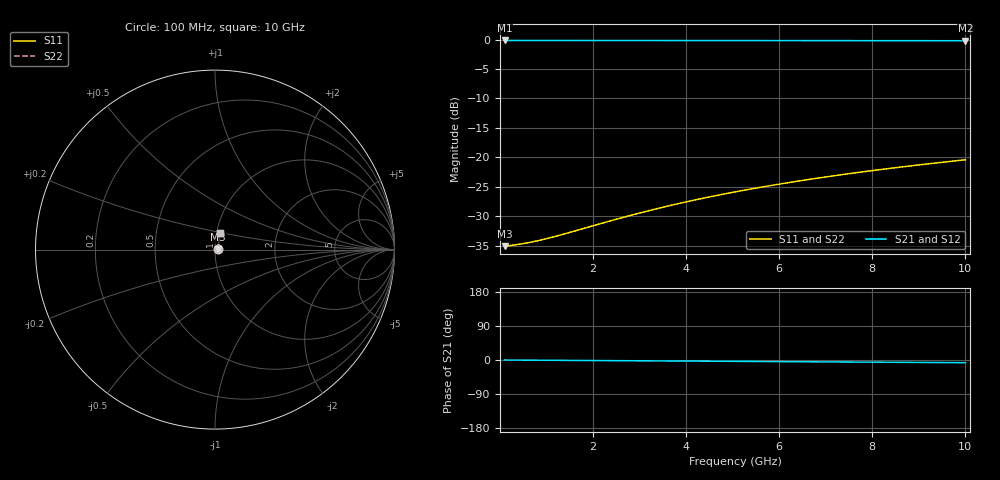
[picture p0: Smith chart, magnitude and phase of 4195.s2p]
# Hz S RI R 50.00
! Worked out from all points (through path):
!   100 points, 100 MHz to 10 GHz, reference 50 ohm
!   highest |S21| = -0.15 dB at 100 MHz (marker M1); lowest = -0.2 dB at 10 GHz (marker M2)
!   lowest |S11| = -35.1 dB at 100 MHz (marker M3), VSWR 1.04, Z = 51.8 + j0.095 ohm
!   |S11| at or under -10 dB: start of sweep to end of sweep
!   |S22| runs from -35.1 to -20.4 dB; largest |S21 - S12| = 0
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1e8  0.0176 0.000917  0.9824 -0.00122  0.9824 -0.00122  0.0176 0.000917
3e8  0.0178 0.00275  0.9822 -0.00365  0.9822 -0.00365  0.0178 0.00275
5e8  0.0179 0.00458  0.9821 -0.00609  0.9821 -0.00609  0.0179 0.00458
8e8  0.0181 0.00732  0.9819 -0.00974  0.9819 -0.00974  0.0181 0.00732
1e9  0.0182 0.00915  0.9818 -0.0122  0.9818 -0.0122  0.0182 0.00915
1.2e9  0.0183 0.011  0.9817 -0.0146  0.9817 -0.0146  0.0183 0.011
1.8e9  0.0187 0.0165  0.9813 -0.0219  0.9813 -0.0219  0.0187 0.0165
2.3e9  0.019 0.021  0.981 -0.028  0.981 -0.028  0.019 0.021
2.7e9  0.0193 0.0247  0.9807 -0.0328  0.9807 -0.0328  0.0193 0.0247
3.1e9  0.0196 0.0283  0.9803 -0.0377  0.9803 -0.0377  0.0196 0.0283
3.4e9  0.0199 0.0311  0.9801 -0.0413  0.9801 -0.0413  0.0199 0.0311
3.8e9  0.0203 0.0347  0.9797 -0.0462  0.9797 -0.0462  0.0203 0.0347
4.2e9  0.0207 0.0383  0.9792 -0.051  0.9792 -0.051  0.0207 0.0383
4.6e9  0.0211 0.042  0.9788 -0.0559  0.9788 -0.0559  0.0211 0.042
5.1e9  0.0217 0.0465  0.9782 -0.0619  0.9782 -0.0619  0.0217 0.0465
5.5e9  0.0222 0.0501  0.9776 -0.0667  0.9776 -0.0667  0.0222 0.0501
5.9e9  0.0228 0.0537  0.977 -0.0716  0.977 -0.0716  0.0228 0.0537
6.7e9  0.024 0.0609  0.9758 -0.0812  0.9758 -0.0812  0.024 0.0609
7.5e9  0.0253 0.0681  0.9744 -0.0908  0.9744 -0.0908  0.0253 0.0681
8.4e9  0.027 0.0761  0.9726 -0.1016  0.9726 -0.1016  0.027 0.0761
9.2e9  0.0286 0.0832  0.9709 -0.1111  0.9709 -0.1111  0.0286 0.0832
1e10  0.0304 0.0903  0.9691 -0.1206  0.9691 -0.1206  0.0304 0.0903
